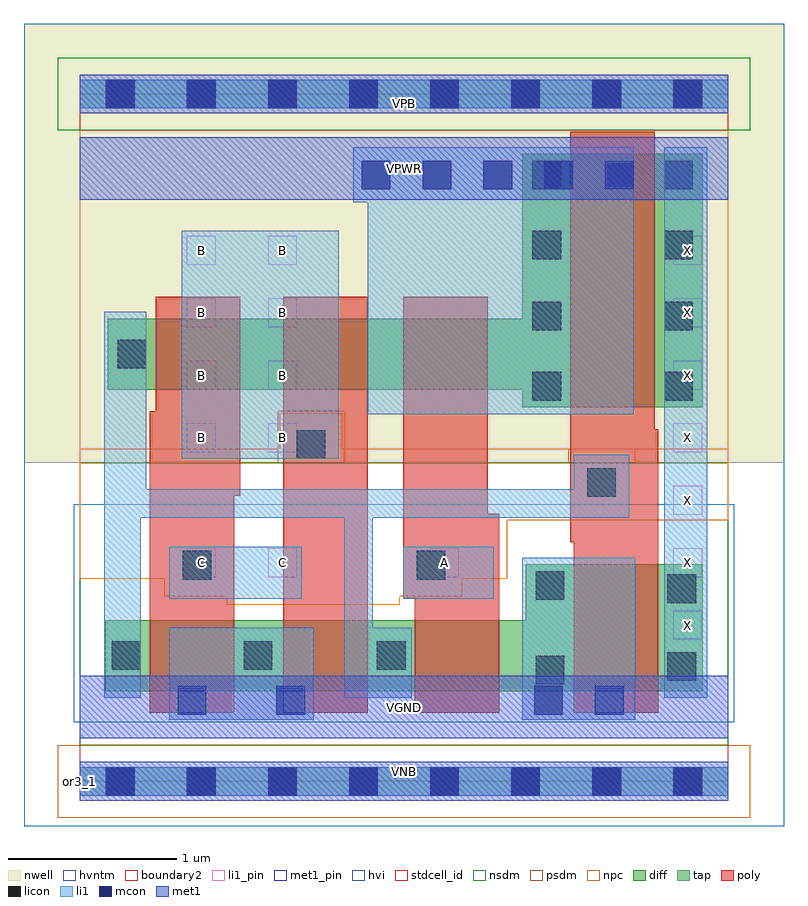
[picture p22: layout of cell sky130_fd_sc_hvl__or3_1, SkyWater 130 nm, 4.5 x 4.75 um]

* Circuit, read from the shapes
.subckt sky130_fd_sc_hvl__or3_1 A B C VGND VNB VPB VPWR X
XM1 VGND C n1 VNB sky130_fd_pr__nfet_g5v0d10v5 w=0.42 l=0.5
XM2 n1 B VGND VNB sky130_fd_pr__nfet_g5v0d10v5 w=0.42 l=0.5
XM3 VGND A n1 VNB sky130_fd_pr__nfet_g5v0d10v5 w=0.42 l=0.5
XM4 X n1 VGND VNB sky130_fd_pr__nfet_g5v0d10v5 w=0.75 l=0.5
XM5 n2 C n1 VPB sky130_fd_pr__pfet_g5v0d10v5 w=0.42 l=0.5
XM6 n3 B n2 VPB sky130_fd_pr__pfet_g5v0d10v5 w=0.42 l=0.5
XM7 VPWR A n3 VPB sky130_fd_pr__pfet_g5v0d10v5 w=0.42 l=0.5
XM8 X n1 VPWR VPB sky130_fd_pr__pfet_g5v0d10v5 w=1.5 l=0.5
.ends

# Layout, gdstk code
import gdstk
lib = gdstk.Library(unit=1e-6, precision=1e-09)
def R(c, l, rs):  # rectangles x0, y0, x1, y1
    for r in rs: c.add(gdstk.rectangle(r[:2], r[2:], *l))
def A(c, l, x, y, w, h, nx, ny, dx, dy):  # array of equal rectangles
    R(c, l, [(x+i*dx, y+j*dy, x+i*dx+w, y+j*dy+h) for i in range(nx) for j in range(ny)])
def P(c, l, *ps):  # polygons
    for p in ps: c.add(gdstk.Polygon(p, *l))
nwell = (64, 20)
diff = (65, 20)
tap = (65, 44)
poly = (66, 20)
licon = (66, 44)
li1_pin = (67, 16)
li1 = (67, 20)
mcon = (67, 44)
met1_pin = (68, 16)
met1 = (68, 20)
hvi = (75, 20)
stdcell_id = (81, 4)
nsdm = (93, 44)
psdm = (94, 20)
npc = (95, 20)
hvntm = (125, 20)
boundary2 = (236, 0)

sky130_fd_sc_hvl__or3_1 = lib.new_cell('sky130_fd_sc_hvl__or3_1')
R(sky130_fd_sc_hvl__or3_1, nwell, [(-0.33,1.885,4.17,4.485)])
P(sky130_fd_sc_hvl__or3_1, diff, [(3.69,3.715),(2.62,3.715),(2.62,2.74),(0.165,2.74),(0.165,2.32),(2.62,2.32),(2.62,2.215),(3.69,2.215)],
  [(3.69,1.285),(2.64,1.285),(2.64,0.955),(0.15,0.955),(0.15,0.535),(3.69,0.535)])
R(sky130_fd_sc_hvl__or3_1, tap, [(0,-0.085,3.84,0.085), (0,3.985,3.84,4.155)])
R(sky130_fd_sc_hvl__or3_1, poly, [(1.205,0.405,1.705,2.87)])
P(sky130_fd_sc_hvl__or3_1, poly, [(0.95,2.87),(0.45,2.87),(0.45,2.19),(0.415,2.19),(0.415,0.405),(0.915,0.405),(0.915,1.69),(0.95,1.69)],
  [(2.485,1.585),(2.415,1.585),(2.415,2.87),(1.915,2.87),(1.915,1.085),(1.985,1.085),(1.985,0.405),(2.485,0.405)],
  [(3.425,2.085),(3.405,2.085),(3.405,3.845),(2.905,3.845),(2.905,1.415),(2.925,1.415),(2.925,0.405),(3.425,0.405)])
A(sky130_fd_sc_hvl__or3_1, licon, 0.155, -0.085, 0.17, 0.17, 8, 2, 0.48, 4.07)
R(sky130_fd_sc_hvl__or3_1, licon, [(2.7,0.575,2.87,0.745), (3.48,0.595,3.65,0.765), (0.19,0.66,0.36,0.83), (0.97,0.66,1.14,0.83), (1.76,0.66,1.93,0.83), (3.48,1.055,3.65,1.225), (2.7,1.075,2.87,1.245), (0.61,1.195,0.78,1.365), (1.995,1.195,2.165,1.365), (3.005,1.685,3.175,1.855), (1.285,1.91,1.455,2.08), (2.68,2.255,2.85,2.425), (3.46,2.255,3.63,2.425), (0.225,2.445,0.395,2.615), (2.68,2.67,2.85,2.84), (3.46,2.67,3.63,2.84), (2.68,3.09,2.85,3.26), (3.46,3.09,3.63,3.26), (2.68,3.505,2.85,3.675), (3.46,3.505,3.63,3.675)])
A(sky130_fd_sc_hvl__or3_1, li1_pin, 3.515, 0.84, 0.17, 0.17, 1, 7, 0, 0.37)
A(sky130_fd_sc_hvl__or3_1, li1_pin, 0.635, 1.95, 0.17, 0.17, 1, 4, 0, 0.37)
A(sky130_fd_sc_hvl__or3_1, li1_pin, 1.115, 1.95, 0.17, 0.17, 1, 4, 0, 0.37)
R(sky130_fd_sc_hvl__or3_1, li1_pin, [(0.635,1.21,0.805,1.38), (1.115,1.21,1.285,1.38), (2.075,1.21,2.245,1.38)])
R(sky130_fd_sc_hvl__or3_1, li1, [(0,-0.085,3.84,0.085), (0.53,0.365,1.385,0.91), (2.62,0.365,3.29,1.325), (3.46,0.495,3.715,3.755), (0.53,1.08,1.315,1.39), (1.915,1.08,2.45,1.39), (0.605,1.91,1.535,3.26), (0,3.985,3.84,4.155)])
P(sky130_fd_sc_hvl__or3_1, li1, [(3.255,1.935),(2.925,1.935),(2.925,1.73),(0.395,1.73),(0.395,2.78),(0.145,2.78),(0.145,0.495),(0.36,0.495),(0.36,1.56),(1.565,1.56),(1.565,0.495),(1.965,0.495),(1.965,0.91),(1.735,0.91),(1.735,1.56),(3.255,1.56)],
  [(3.28,3.755),(1.62,3.755),(1.62,3.43),(1.705,3.43),(1.705,2.175),(3.28,2.175)])
A(sky130_fd_sc_hvl__or3_1, mcon, 1.67, 3.505, 0.17, 0.17, 5, 1, 0.36, 0)
R(sky130_fd_sc_hvl__or3_1, mcon, [(0.155,-0.085,0.325,0.085), (0.155,-0.085,0.325,0.085), (0.635,-0.085,0.805,0.085), (0.635,-0.085,0.805,0.085), (1.115,-0.085,1.285,0.085), (1.115,-0.085,1.285,0.085), (1.595,-0.085,1.765,0.085), (1.595,-0.085,1.765,0.085), (2.075,-0.085,2.245,0.085), (2.075,-0.085,2.245,0.085), (2.555,-0.085,2.725,0.085), (2.555,-0.085,2.725,0.085), (3.035,-0.085,3.205,0.085), (3.035,-0.085,3.205,0.085), (3.515,-0.085,3.685,0.085), (3.515,-0.085,3.685,0.085), (0.58,0.395,0.75,0.565), (1.165,0.395,1.335,0.565), (2.69,0.395,2.86,0.565), (3.05,0.395,3.22,0.565), (0.155,3.985,0.325,4.155), (0.155,3.985,0.325,4.155), (0.635,3.985,0.805,4.155), (0.635,3.985,0.805,4.155), (1.115,3.985,1.285,4.155), (1.115,3.985,1.285,4.155), (1.595,3.985,1.765,4.155), (1.595,3.985,1.765,4.155), (2.075,3.985,2.245,4.155), (2.075,3.985,2.245,4.155), (2.555,3.985,2.725,4.155), (2.555,3.985,2.725,4.155), (3.035,3.985,3.205,4.155), (3.035,3.985,3.205,4.155), (3.515,3.985,3.685,4.155), (3.515,3.985,3.685,4.155)])
R(sky130_fd_sc_hvl__or3_1, met1_pin, [(0,0,3.84,0.115), (0,0.255,3.84,0.625), (0,3.445,3.84,3.815), (0,3.955,3.84,4.07)])
R(sky130_fd_sc_hvl__or3_1, met1, [(0,-0.115,3.84,0.115), (0,0.255,3.84,0.625), (0,3.445,3.84,3.815), (0,3.955,3.84,4.185)])
R(sky130_fd_sc_hvl__or3_1, hvi, [(-0.33,-0.265,4.17,4.485)])
R(sky130_fd_sc_hvl__or3_1, stdcell_id, [(0,0,3.84,4.07)])
R(sky130_fd_sc_hvl__or3_1, nsdm, [(0,0.215,3.84,1.885), (-0.13,3.855,3.97,4.285), (0,3.855,3.84,4.07)])
R(sky130_fd_sc_hvl__or3_1, psdm, [(-0.13,-0.215,3.97,0.215)])
P(sky130_fd_sc_hvl__or3_1, psdm, [(3.84,3.855),(0,3.855),(0,1.885),(1.175,1.885),(1.175,2.19),(1.565,2.19),(1.565,1.885),(2.895,1.885),(2.895,1.965),(3.285,1.965),(3.285,1.885),(3.84,1.885)])
P(sky130_fd_sc_hvl__or3_1, npc, [(3.84,1.97),(1.555,1.97),(1.555,2.18),(1.185,2.18),(1.185,1.97),(0,1.97),(0,1.2),(0.5,1.2),(0.5,1.095),(0.87,1.095),(0.87,1.045),(1.895,1.045),(1.895,1.095),(2.265,1.095),(2.265,1.2),(2.53,1.2),(2.53,1.545),(3.84,1.545)])
R(sky130_fd_sc_hvl__or3_1, hvntm, [(-0.035,0.35,3.875,1.64)])
R(sky130_fd_sc_hvl__or3_1, boundary2, [(0,0,3.84,4.07)])
sky130_fd_sc_hvl__or3_1.add(gdstk.Label('or3_1', (0,0), layer=83, texttype=44))
sky130_fd_sc_hvl__or3_1.add(gdstk.Label('VGND', (1.92,0.44), layer=68, texttype=5))
sky130_fd_sc_hvl__or3_1.add(gdstk.Label('VNB', (1.92,0.058), layer=68, texttype=5))
sky130_fd_sc_hvl__or3_1.add(gdstk.Label('VPWR', (1.92,3.63), layer=68, texttype=5))
sky130_fd_sc_hvl__or3_1.add(gdstk.Label('VPB', (1.92,4.013), layer=68, texttype=5))
sky130_fd_sc_hvl__or3_1.add(gdstk.Label('A', (2.16,1.295), layer=67, texttype=5))
sky130_fd_sc_hvl__or3_1.add(gdstk.Label('B', (0.72,2.035), layer=67, texttype=5))
sky130_fd_sc_hvl__or3_1.add(gdstk.Label('B', (0.72,2.405), layer=67, texttype=5))
sky130_fd_sc_hvl__or3_1.add(gdstk.Label('B', (0.72,2.775), layer=67, texttype=5))
sky130_fd_sc_hvl__or3_1.add(gdstk.Label('B', (0.72,3.145), layer=67, texttype=5))
sky130_fd_sc_hvl__or3_1.add(gdstk.Label('B', (1.2,2.035), layer=67, texttype=5))
sky130_fd_sc_hvl__or3_1.add(gdstk.Label('B', (1.2,2.405), layer=67, texttype=5))
sky130_fd_sc_hvl__or3_1.add(gdstk.Label('B', (1.2,2.775), layer=67, texttype=5))
sky130_fd_sc_hvl__or3_1.add(gdstk.Label('B', (1.2,3.145), layer=67, texttype=5))
sky130_fd_sc_hvl__or3_1.add(gdstk.Label('C', (0.72,1.295), layer=67, texttype=5))
sky130_fd_sc_hvl__or3_1.add(gdstk.Label('C', (1.2,1.295), layer=67, texttype=5))
sky130_fd_sc_hvl__or3_1.add(gdstk.Label('X', (3.6,0.925), layer=67, texttype=5))
sky130_fd_sc_hvl__or3_1.add(gdstk.Label('X', (3.6,1.295), layer=67, texttype=5))
sky130_fd_sc_hvl__or3_1.add(gdstk.Label('X', (3.6,1.665), layer=67, texttype=5))
sky130_fd_sc_hvl__or3_1.add(gdstk.Label('X', (3.6,2.035), layer=67, texttype=5))
sky130_fd_sc_hvl__or3_1.add(gdstk.Label('X', (3.6,2.405), layer=67, texttype=5))
sky130_fd_sc_hvl__or3_1.add(gdstk.Label('X', (3.6,2.775), layer=67, texttype=5))
sky130_fd_sc_hvl__or3_1.add(gdstk.Label('X', (3.6,3.145), layer=67, texttype=5))

lib.write_gds('sky130_fd_sc_hvl__or3_1.gds')
